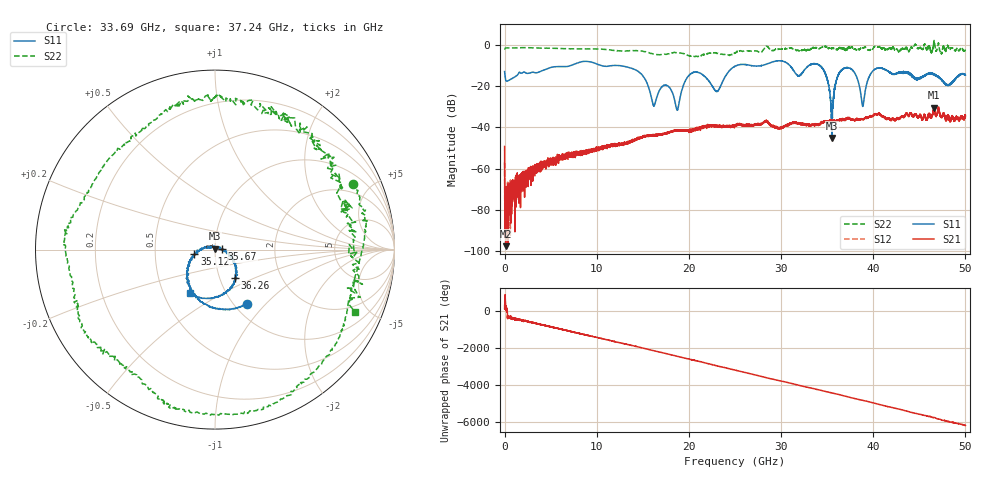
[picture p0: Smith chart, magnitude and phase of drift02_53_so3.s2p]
!Created with skrf (http://scikit-rf.org).
# Hz S RI R 50.0
!freq ReS11 ImS11 ReS21 ImS21 ReS12 ImS12 ReS22 ImS22
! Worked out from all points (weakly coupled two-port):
!   10001 points, 300 kHz to 50 GHz, reference 50 ohm
!   highest |S21| = -30.38 dB at 46.62 GHz (marker M1); lowest = -97.7 dB at 115.3 MHz (marker M2)
!   lowest |S11| = -45.1 dB at 35.53 GHz (marker M3), VSWR 1.01, Z = 50.1 + j0.535 ohm
!   |S11| at or under -10 dB: start of sweep to 7.181 GHz; 12.36 GHz to 25.16 GHz (12.8 GHz wide, 68.2 % of centre); 34.21 GHz to end of sweep (the widest 3 of 14)
!   |S22| runs from -5.7 to 2.2 dB; largest |S21 - S12| = 0.0032
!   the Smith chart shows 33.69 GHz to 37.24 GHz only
!   S11 on the Smith chart (normalised r, x): 33.69 GHz: 1.15, -0.79; 35.12 GHz: 0.79, -0.04; 35.67 GHz: 1.08, +0.01; 36.26 GHz: 1.18, -0.39; 37.24 GHz: 0.68, -0.35
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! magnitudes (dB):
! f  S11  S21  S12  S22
! 300 kHz  -12.9  -49.3  -57.1  -2.1
! 115.3 MHz  -17.0  -97.7  -79.8  -1.5
! 295.3 MHz  -17.5  -73.5  -81.2  -1.4
! 8.335 GHz  -8.2  -52.2  -52.6  -1.9
! 14.03 GHz  -11.7  -46.3  -46.7  -2.8
! 16.67 GHz  -23.4  -43.5  -43.6  -4.7
! 18.74 GHz  -31.7  -41.6  -41.2  -3.7
! 20.25 GHz  -13.9  -41.1  -41.4  -5.4
! 23.03 GHz  -22.6  -39.5  -39.3  -4.1
! 25 GHz  -10.3  -39.6  -39.1  -3.9
! 33.34 GHz  -9.3  -38.7  -38.8  -1.6
! 33.69 GHz  -9.1  -38.7  -38.6  -1.4
! 35.12 GHz  -18.6  -37.3  -37.4  -1.7
! 35.53 GHz  -45.1  -36.8  -36.8  -1.7
! 35.67 GHz  -27.8  -36.9  -36.5  -1.6
! 36.26 GHz  -14.2  -36.5  -36.6  -1.7
! 37.24 GHz  -11.1  -35.4  -35.3  -1.4
! 38.86 GHz  -29.8  -35.8  -35.9  -1.3
! 39.96 GHz  -12.7  -34.6  -34.5  -1.9
! 41.67 GHz  -13.0  -35.5  -35.5  -2.0
! 46.62 GHz  -14.5  -30.4  -30.3  2.1
! 50 GHz  -14.6  -34.6  -34.5  -2.7
